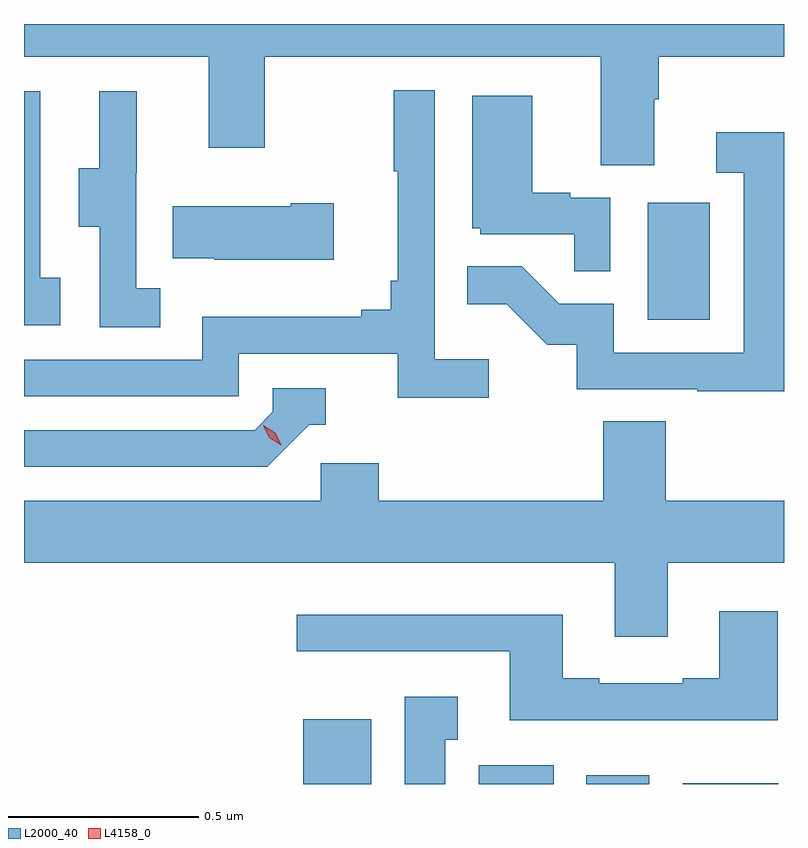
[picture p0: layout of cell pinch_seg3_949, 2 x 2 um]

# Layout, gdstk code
import gdstk
lib = gdstk.Library(unit=1e-6, precision=1e-09)
def R(c, l, rs):  # rectangles x0, y0, x1, y1
    for r in rs: c.add(gdstk.rectangle(r[:2], r[2:], *l))
def P(c, l, *ps):  # polygons
    for p in ps: c.add(gdstk.Polygon(p, *l))
L2000_40 = (2000, 40)
L4158_0 = (4158, 0)

pinch_seg3_949 = lib.new_cell('pinch_seg3_949')
R(pinch_seg3_949, L2000_40, [(889.286,687.014,889.465,687.184), (889.748,687.014,889.945,687.064), (890.03,687.014,890.197,687.037), (890.285,687.014,890.536,687.016), (890.192,688.236,890.356,688.543)])
P(pinch_seg3_949, L2000_40, [(890.209,688.816),(890.222,688.816),(890.222,688.928),(890.551,688.928),(890.551,689.014),(888.551,689.014),(888.551,688.928),(889.037,688.928),(889.037,688.689),(889.185,688.689),(889.185,688.928),(890.069,688.928),(890.069,688.642),(890.209,688.642)],
  [(889.774,688.132),(889.632,688.132),(889.632,688.84),(889.524,688.84),(889.524,688.627),(889.535,688.627),(889.535,688.339),(889.516,688.339),(889.516,688.262),(889.439,688.262),(889.439,688.243),(889.02,688.243),(889.02,688.131),(888.551,688.131),(888.551,688.035),(889.116,688.035),(889.116,688.146),(889.535,688.146),(889.535,688.03),(889.774,688.03)],
  [(888.91,688.319),(888.846,688.319),(888.846,688.623),(888.848,688.623),(888.848,688.837),(888.749,688.837),(888.749,688.635),(888.695,688.635),(888.695,688.48),(888.75,688.48),(888.75,688.216),(888.91,688.216)],
  [(888.646,688.346),(888.594,688.346),(888.594,688.837),(888.551,688.837),(888.551,688.221),(888.646,688.221)],
  [(890.094,688.557),(889.988,688.557),(889.988,688.57),(889.888,688.57),(889.888,688.825),(889.73,688.825),(889.73,688.476),(889.752,688.476),(889.752,688.461),(889.999,688.461),(889.999,688.363),(890.094,688.363)],
  [(890.551,688.729),(890.373,688.729),(890.373,688.623),(890.445,688.623),(890.445,688.149),(890.103,688.149),(890.103,688.278),(889.959,688.278),(889.861,688.376),(889.717,688.376),(889.717,688.277),(889.821,688.277),(889.928,688.17),(890.005,688.17),(890.005,688.053),(890.323,688.053),(890.323,688.048),(890.551,688.048)],
  [(889.366,688.542),(889.253,688.542),(889.253,688.534),(888.943,688.534),(888.943,688.397),(889.051,688.397),(889.051,688.394),(889.366,688.394)],
  [(889.302,687.96),(889.345,687.96),(889.345,688.056),(889.206,688.056),(889.206,687.993),(889.158,687.945),(888.551,687.945),(888.551,687.849),(889.191,687.849)],
  [(890.245,687.596),(890.551,687.596),(890.551,687.76),(890.24,687.76),(890.24,687.968),(890.075,687.968),(890.075,687.76),(889.484,687.76),(889.484,687.858),(889.332,687.858),(889.332,687.76),(888.551,687.76),(888.551,687.596),(890.105,687.596),(890.105,687.402),(890.245,687.402)],
  [(890.534,687.469),(890.381,687.469),(890.381,687.292),(890.285,687.292),(890.285,687.279),(890.065,687.279),(890.065,687.292),(889.969,687.292),(889.969,687.46),(889.269,687.46),(889.269,687.363),(889.829,687.363),(889.829,687.182),(890.534,687.182)],
  [(889.66,687.131),(889.693,687.131),(889.693,687.244),(889.553,687.244),(889.553,687.014),(889.66,687.014)])
P(pinch_seg3_949, L4158_0, [(889.228,687.906),(889.197,687.925),(889.181,687.958),(889.181,687.958),(889.181,687.958),(889.212,687.939),(889.228,687.906),(889.228,687.906)])

lib.write_gds('pinch_seg3_949.gds')
